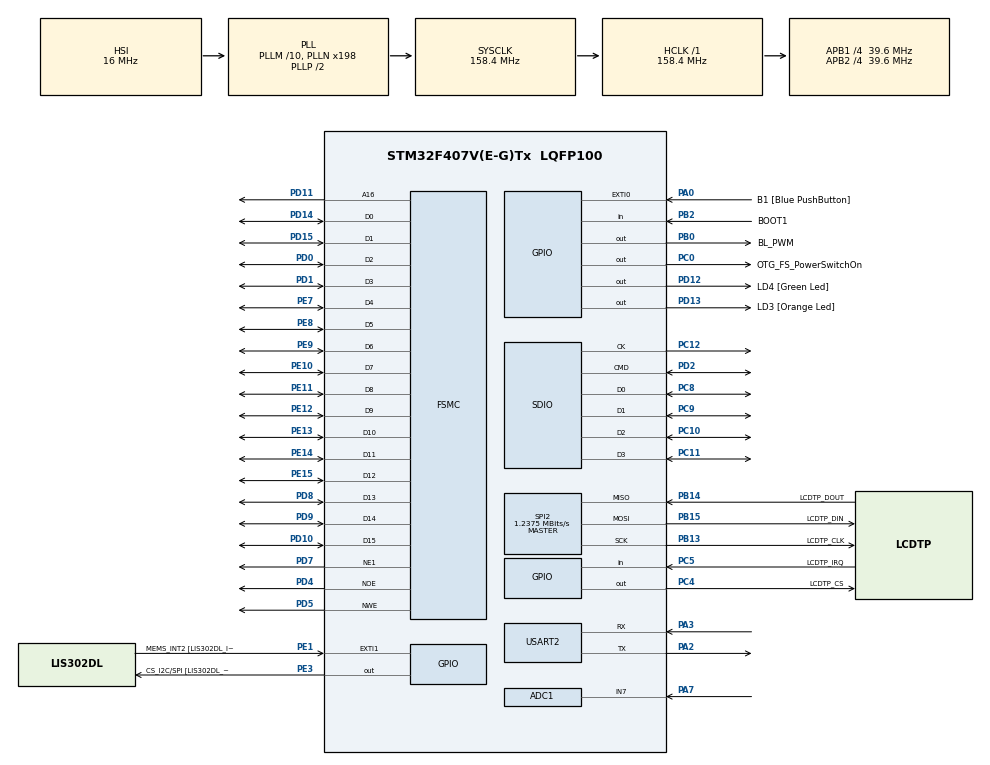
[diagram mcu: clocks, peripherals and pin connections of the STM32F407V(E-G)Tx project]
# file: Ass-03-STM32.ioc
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ADC1.Channel-0\#ChannelRegularConversion=ADC_CHANNEL_7
ADC1.ClockPrescaler=ADC_CLOCK_SYNC_PCLK_DIV8
ADC1.ContinuousConvMode=ENABLE
ADC1.DMAContinuousRequests=ENABLE
ADC1.DataAlign=ADC_DATAALIGN_RIGHT
ADC1.DiscontinuousConvMode=DISABLE
ADC1.EOCSelection=ADC_EOC_SEQ_CONV
ADC1.EnableAnalogWatchDog=false
ADC1.ExternalTrigConv=ADC_SOFTWARE_START
ADC1.ExternalTrigConvEdge=ADC_EXTERNALTRIGCONVEDGE_NONE
ADC1.InjNumberOfConversion=0
ADC1.NbrOfConversion=1
ADC1.NbrOfConversionFlag=1
ADC1.Rank-0\#ChannelRegularConversion=1
ADC1.Resolution=ADC_RESOLUTION_12B
ADC1.SamplingTime-0\#ChannelRegularConversion=ADC_SAMPLETIME_480CYCLES
ADC1.ScanConvMode=DISABLE
ADC1.master=1
Dma.ADC1.2.Direction=DMA_PERIPH_TO_MEMORY
Dma.ADC1.2.FIFOMode=DMA_FIFOMODE_DISABLE
Dma.ADC1.2.Instance=DMA2_Stream0
Dma.ADC1.2.MemDataAlignment=DMA_MDATAALIGN_HALFWORD
Dma.ADC1.2.MemInc=DMA_MINC_ENABLE
Dma.ADC1.2.Mode=DMA_CIRCULAR
Dma.ADC1.2.PeriphDataAlignment=DMA_PDATAALIGN_HALFWORD
Dma.ADC1.2.PeriphInc=DMA_PINC_DISABLE
Dma.ADC1.2.Priority=DMA_PRIORITY_LOW
Dma.Request0=SDIO_RX
Dma.Request1=SDIO_TX
Dma.Request2=ADC1
Dma.SDIO_RX.0.Direction=DMA_PERIPH_TO_MEMORY
Dma.SDIO_RX.0.FIFOMode=DMA_FIFOMODE_ENABLE
Dma.SDIO_RX.0.FIFOThreshold=DMA_FIFO_THRESHOLD_FULL
Dma.SDIO_RX.0.Instance=DMA2_Stream3
Dma.SDIO_RX.0.MemBurst=DMA_MBURST_INC4
Dma.SDIO_RX.0.MemDataAlignment=DMA_MDATAALIGN_WORD
Dma.SDIO_RX.0.MemInc=DMA_MINC_ENABLE
Dma.SDIO_RX.0.Mode=DMA_PFCTRL
Dma.SDIO_RX.0.PeriphBurst=DMA_PBURST_INC4
Dma.SDIO_RX.0.PeriphDataAlignment=DMA_PDATAALIGN_WORD
Dma.SDIO_RX.0.PeriphInc=DMA_PINC_DISABLE
Dma.SDIO_RX.0.Priority=DMA_PRIORITY_LOW
Dma.SDIO_TX.1.Direction=DMA_MEMORY_TO_PERIPH
Dma.SDIO_TX.1.FIFOMode=DMA_FIFOMODE_ENABLE
Dma.SDIO_TX.1.FIFOThreshold=DMA_FIFO_THRESHOLD_FULL
Dma.SDIO_TX.1.Instance=DMA2_Stream6
Dma.SDIO_TX.1.MemBurst=DMA_MBURST_INC4
Dma.SDIO_TX.1.MemDataAlignment=DMA_MDATAALIGN_WORD
Dma.SDIO_TX.1.MemInc=DMA_MINC_ENABLE
Dma.SDIO_TX.1.Mode=DMA_PFCTRL
Dma.SDIO_TX.1.PeriphBurst=DMA_PBURST_INC4
Dma.SDIO_TX.1.PeriphDataAlignment=DMA_PDATAALIGN_WORD
Dma.SDIO_TX.1.PeriphInc=DMA_PINC_DISABLE
Dma.SDIO_TX.1.Priority=DMA_PRIORITY_LOW
FATFS._FS_LOCK=5
FREERTOS.BinarySemaphores01=myBinarySem01,Dynamic,NULL;myBinarySem02,Dynamic,NULL;myBinarySem03,Dynamic,NULL;myBinarySem04,Dynamic,NULL;myBinarySem05,Dynamic,NULL;myBinarySem06,Dynamic,NULL
FREERTOS.CountingSemaphores01=myCountingSem01,2,Dynamic,NULL
FREERTOS.Mutexes01=myMutex01,Dynamic,NULL;myMutex02,Dynamic,NULL;myMutex03,Dynamic,NULL
FREERTOS.Queues01=myQueue01,4,uint32_t,0,Dynamic,NULL,NULL
FREERTOS.Tasks01=defaultTask,0,2048,StartDefaultTask,Default,NULL,Dynamic,NULL,NULL;myTask02,0,2048,StartTask02,Default,NULL,Dynamic,NULL,NULL;myTask03,2,2048,StartTask03,Default,NULL,Dynamic,NULL,NULL;myTask04,3,2048,StartTask04,Default,NULL,Dynamic,NULL,NULL
FREERTOS.Timers01=myTimer01,Callback01,osTimerPeriodic,Default,NULL,Dynamic,NULL
FREERTOS.configTOTAL_HEAP_SIZE=48000
FREERTOS.configUSE_COUNTING_SEMAPHORES=1
FREERTOS.configUSE_TIMERS=1
Mcu.Family=STM32F4
Mcu.Name=STM32F407V(E-G)Tx
Mcu.Package=LQFP100
NVIC.DMA2_Stream0_IRQn=true\:5\:0\:false\:false\:true\:true\:false
NVIC.DMA2_Stream3_IRQn=true\:5\:0\:false\:false\:true\:true\:false
NVIC.DMA2_Stream6_IRQn=true\:5\:0\:false\:false\:true\:true\:false
NVIC.PriorityGroup=NVIC_PRIORITYGROUP_4
NVIC.SPI2_IRQn=true\:8\:0\:true\:false\:true\:true\:true
NVIC.TIM1_UP_TIM10_IRQn=true\:0\:0\:false\:false\:true\:false\:false
NVIC.TimeBase=TIM1_UP_TIM10_IRQn
NVIC.TimeBaseIP=TIM1
NVIC.USART2_IRQn=true\:5\:0\:false\:false\:true\:true\:true
PA0-WKUP.GPIO_Label=B1 [Blue PushButton]
PA0-WKUP.GPIO_ModeDefaultEXTI=GPIO_MODE_EVT_RISING
PA0-WKUP.GPIO_PuPd=GPIO_NOPULL
PA0-WKUP.Signal=GPXTI0
PA10.GPIO_Label=OTG_FS_ID
PA10.GPIO_Mode=GPIO_MODE_AF_PP
PA10.GPIO_PuPd=GPIO_NOPULL
PA10.GPIO_Speed=GPIO_SPEED_FREQ_LOW
PA10.Signal=USB_OTG_FS_ID
PA11.GPIO_Label=OTG_FS_DM
PA11.GPIO_Mode=GPIO_MODE_AF_PP
PA11.GPIO_PuPd=GPIO_NOPULL
PA11.GPIO_Speed=GPIO_SPEED_FREQ_LOW
PA11.Signal=USB_OTG_FS_DM
PA12.GPIO_Label=OTG_FS_DP
PA12.GPIO_Mode=GPIO_MODE_AF_PP
PA12.GPIO_PuPd=GPIO_NOPULL
PA12.GPIO_Speed=GPIO_SPEED_FREQ_LOW
PA12.Signal=USB_OTG_FS_DP
PA13.GPIO_Label=SWDIO
PA13.Signal=SYS_JTMS-SWDIO
PA14.GPIO_Label=SWCLK
PA14.Signal=SYS_JTCK-SWCLK
PA2.Mode=Asynchronous
PA2.Signal=USART2_TX
PA3.Mode=Asynchronous
PA3.Signal=USART2_RX
PA4.GPIO_Label=I2S3_WS [CS43L22_LRCK]
PA4.GPIO_Mode=GPIO_MODE_AF_PP
PA4.GPIO_PuPd=GPIO_NOPULL
PA4.GPIO_Speed=GPIO_SPEED_FREQ_LOW
PA4.Signal=I2S3_WS
PA5.GPIO_Label=SPI1_SCK [LIS302DL_SCL/SPC]
PA5.GPIO_Mode=GPIO_MODE_AF_PP
PA5.GPIO_PuPd=GPIO_NOPULL
PA5.GPIO_Speed=GPIO_SPEED_FREQ_LOW
PA5.Signal=SPI1_SCK
PA7.Signal=ADCx_IN7
PA9.GPIO_Label=VBUS_FS
PA9.GPIO_Mode=GPIO_MODE_INPUT
PA9.GPIO_PuPd=GPIO_NOPULL
PA9.Signal=USB_OTG_FS_VBUS
PB0.GPIO_Label=BL_PWM
PB0.Signal=GPIO_Output
PB10.GPIO_Label=CLK_IN [MP45DT02_CLK]
PB10.GPIO_Mode=GPIO_MODE_AF_PP
PB10.GPIO_PuPd=GPIO_NOPULL
PB10.GPIO_Speed=GPIO_SPEED_FREQ_LOW
PB10.Signal=I2S2_CK
PB13.GPIO_Label=LCDTP_CLK
PB13.Mode=Full_Duplex_Master
PB13.Signal=SPI2_SCK
PB14.GPIO_Label=LCDTP_DOUT
PB14.Mode=Full_Duplex_Master
PB14.Signal=SPI2_MISO
PB15.GPIO_Label=LCDTP_DIN
PB15.Mode=Full_Duplex_Master
PB15.Signal=SPI2_MOSI
PB2.GPIO_Label=BOOT1
PB2.GPIO_Mode=GPIO_MODE_INPUT
PB2.GPIO_PuPd=GPIO_NOPULL
PB2.Signal=GPIO_Input
PB3.GPIO_Label=SWO
PB3.Signal=SYS_JTDO-SWO
PB6.GPIO_Label=Audio_SCL [CS43L22_SCL]
PB6.GPIO_Mode=GPIO_MODE_AF_OD
PB6.GPIO_PuPd=GPIO_NOPULL
PB6.GPIO_Speed=GPIO_SPEED_FREQ_LOW
PB6.Signal=I2C1_SCL
PB9.GPIO_Label=Audio_SDA [CS43L22_SDA]
PB9.GPIO_Mode=GPIO_MODE_AF_OD
PB9.GPIO_PuPd=GPIO_NOPULL
PB9.GPIO_Speed=GPIO_SPEED_FREQ_LOW
PB9.Signal=I2C1_SDA
PC0.GPIO_Label=OTG_FS_PowerSwitchOn
PC0.GPIO_PuPd=GPIO_NOPULL
PC0.GPIO_Speed=GPIO_SPEED_FREQ_LOW
PC0.PinState=GPIO_PIN_SET
PC0.Signal=GPIO_Output
PC10.Mode=SD_4_bits_Wide_bus
PC10.Signal=SDIO_D2
PC11.Mode=SD_4_bits_Wide_bus
PC11.Signal=SDIO_D3
PC12.Mode=SD_4_bits_Wide_bus
PC12.Signal=SDIO_CK
PC14-OSC32_IN.GPIO_Label=PC14-OSC32_IN
PC14-OSC32_IN.Signal=RCC_OSC32_IN
PC15-OSC32_OUT.GPIO_Label=PC15-OSC32_OUT
PC15-OSC32_OUT.Signal=RCC_OSC32_OUT
PC3.GPIO_Label=PDM_OUT [MP45DT02_DOUT]
PC3.GPIO_Mode=GPIO_MODE_AF_PP
PC3.GPIO_PuPd=GPIO_NOPULL
PC3.GPIO_Speed=GPIO_SPEED_FREQ_LOW
PC3.Signal=I2S2_SD
PC4.GPIO_Label=LCDTP_CS
PC4.GPIO_PuPd=GPIO_PULLDOWN
PC4.Signal=GPIO_Output
PC5.GPIO_Label=LCDTP_IRQ
PC5.Signal=GPIO_Input
PC7.GPIO_Label=I2S3_MCK [CS43L22_MCLK]
PC7.GPIO_Mode=GPIO_MODE_AF_PP
PC7.GPIO_PuPd=GPIO_NOPULL
PC7.GPIO_Speed=GPIO_SPEED_FREQ_LOW
PC7.Signal=I2S3_MCK
PC8.Mode=SD_4_bits_Wide_bus
PC8.Signal=SDIO_D0
PC9.Mode=SD_4_bits_Wide_bus
PC9.Signal=SDIO_D1
PD0.Mode=16b-d1
PD0.Signal=FSMC_D2
PD1.Mode=16b-d1
PD1.Signal=FSMC_D3
PD10.Mode=16b-d1
PD10.Signal=FSMC_D15
PD11.Mode=A16_1
PD11.Signal=FSMC_A16
PD12.GPIO_Label=LD4 [Green Led]
PD12.GPIO_PuPd=GPIO_NOPULL
PD12.GPIO_Speed=GPIO_SPEED_FREQ_LOW
PD12.Signal=GPIO_Output
PD13.GPIO_Label=LD3 [Orange Led]
PD13.GPIO_PuPd=GPIO_NOPULL
PD13.GPIO_Speed=GPIO_SPEED_FREQ_LOW
PD13.Signal=GPIO_Output
PD14.Mode=16b-d1
PD14.Signal=FSMC_D0
PD15.Mode=16b-d1
PD15.Signal=FSMC_D1
PD2.Mode=SD_4_bits_Wide_bus
PD2.Signal=SDIO_CMD
PD4.Mode=Lcd1
PD4.Signal=FSMC_NOE
PD5.Mode=Lcd1
PD5.Signal=FSMC_NWE
PD7.Mode=NorPsramChipSelect1_1
PD7.Signal=FSMC_NE1
PD8.Mode=16b-d1
PD8.Signal=FSMC_D13
PD9.Mode=16b-d1
PD9.Signal=FSMC_D14
PE1.GPIO_Label=MEMS_INT2 [LIS302DL_INT2]
PE1.GPIO_ModeDefaultEXTI=GPIO_MODE_EVT_RISING
PE1.GPIO_PuPd=GPIO_NOPULL
PE1.Signal=GPXTI1
PE10.Mode=16b-d1
PE10.Signal=FSMC_D7
PE11.Mode=16b-d1
PE11.Signal=FSMC_D8
PE12.Mode=16b-d1
PE12.Signal=FSMC_D9
PE13.Mode=16b-d1
PE13.Signal=FSMC_D10
PE14.Mode=16b-d1
PE14.Signal=FSMC_D11
PE15.Mode=16b-d1
PE15.Signal=FSMC_D12
PE3.GPIO_Label=CS_I2C/SPI [LIS302DL_CS_I2C/SPI]
PE3.GPIO_PuPd=GPIO_NOPULL
PE3.GPIO_Speed=GPIO_SPEED_FREQ_LOW
PE3.Signal=GPIO_Output
PE7.Mode=16b-d1
PE7.Signal=FSMC_D4
PE8.Mode=16b-d1
PE8.Signal=FSMC_D5
PE9.Mode=16b-d1
PE9.Signal=FSMC_D6
PH0-OSC_IN.GPIO_Label=PH0-OSC_IN
PH0-OSC_IN.Mode=HSE-External-Oscillator
PH0-OSC_IN.Signal=RCC_OSC_IN
PH1-OSC_OUT.GPIO_Label=PH1-OSC_OUT
PH1-OSC_OUT.Mode=HSE-External-Oscillator
PH1-OSC_OUT.Signal=RCC_OSC_OUT
ProjectManager.HeapSize=0x8000
ProjectManager.StackSize=0x4000
ProjectManager.TargetToolchain=SW4STM32
RCC.48MHZClocksFreq_Value=45257142.85714286
RCC.AHBFreq_Value=158400000
RCC.APB1CLKDivider=RCC_HCLK_DIV4
RCC.APB1Freq_Value=39600000
RCC.APB1TimFreq_Value=79200000
RCC.APB2CLKDivider=RCC_HCLK_DIV4
RCC.APB2Freq_Value=39600000
RCC.APB2TimFreq_Value=79200000
RCC.CortexFreq_Value=158400000
RCC.HCLKFreq_Value=158400000
RCC.HSE_VALUE=8000000
RCC.HSI_VALUE=16000000
RCC.LSE_VALUE=32768
RCC.PLLM=10
RCC.PLLN=198
RCC.PLLQ=7
RCC.SYSCLKFreq_VALUE=158400000
RCC.SYSCLKSource=RCC_SYSCLKSOURCE_PLLCLK
RCC.VCOOutputFreq_Value=316800000
SH.ADCx_IN7.0=ADC1_IN7,IN7
SPI2.BaudRatePrescaler=SPI_BAUDRATEPRESCALER_32
SPI2.CalculateBaudRate=1.2375 MBits/s
SPI2.Direction=SPI_DIRECTION_2LINES
SPI2.Mode=SPI_MODE_MASTER
SPI2.VirtualType=VM_MASTER
USART2.VirtualMode=VM_ASYNC
VP_FATFS_VS_SDIO.Mode=SDIO
VP_FREERTOS_VS_ENABLE.Mode=Enabled
VP_SYS_VS_tim1.Mode=TIM1
board=STM32F4DISCOVERY

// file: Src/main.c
/**
  ******************************************************************************
  * @file           : main.c
  * @brief          : Main program body
  ******************************************************************************
  * This notice applies to any and all portions of this file
  * that are not between comment pairs USER CODE BEGIN and
  * USER CODE END. Other portions of this file, whether
  * inserted by the user or by software development tools
  * are owned by their respective copyright owners.
  *
  * Copyright (c) 2018 STMicroelectronics International N.V.
  * All rights reserved.
  *
  * Redistribution and use in source and binary forms, with or without
  * modification, are permitted, provided that the following conditions are met:
  *
  * 1. Redistribution of source code must retain the above copyright notice,
  *    this list of conditions and the following disclaimer.
  * 2. Redistributions in binary form must reproduce the above copyright notice,
  *    this list of conditions and the following disclaimer in the documentation
  *    and/or other materials provided with the distribution.
  * 3. Neither the name of STMicroelectronics nor the names of other
  *    contributors to this software may be used to endorse or promote products
  *    derived from this software without specific written permission.
  * 4. This software, including modifications and/or derivative works of this
  *    software, must execute solely and exclusively on microcontroller or
  *    microprocessor devices manufactured by or for STMicroelectronics.
  * 5. Redistribution and use of this software other than as permitted under
  *    this license is void and will automatically terminate your rights under
  *    this license.
  *
  * THIS SOFTWARE IS PROVIDED BY STMICROELECTRONICS AND CONTRIBUTORS "AS IS"
  * AND ANY EXPRESS, IMPLIED OR STATUTORY WARRANTIES, INCLUDING, BUT NOT
  * LIMITED TO, THE IMPLIED WARRANTIES OF MERCHANTABILITY, FITNESS FOR A
  * PARTICULAR PURPOSE AND NON-INFRINGEMENT OF THIRD PARTY INTELLECTUAL PROPERTY
  * RIGHTS ARE DISCLAIMED TO THE FULLEST EXTENT PERMITTED BY LAW. IN NO EVENT
  * SHALL STMICROELECTRONICS OR CONTRIBUTORS BE LIABLE FOR ANY DIRECT, INDIRECT,
  * INCIDENTAL, SPECIAL, EXEMPLARY, OR CONSEQUENTIAL DAMAGES (INCLUDING, BUT NOT
  * LIMITED TO, PROCUREMENT OF SUBSTITUTE GOODS OR SERVICES; LOSS OF USE, DATA,
  * OR PROFITS; OR BUSINESS INTERRUPTION) HOWEVER CAUSED AND ON ANY THEORY OF
  * LIABILITY, WHETHER IN CONTRACT, STRICT LIABILITY, OR TORT (INCLUDING
  * NEGLIGENCE OR OTHERWISE) ARISING IN ANY WAY OUT OF THE USE OF THIS SOFTWARE,
  * EVEN IF ADVISED OF THE POSSIBILITY OF SUCH DAMAGE.
  *
  ******************************************************************************
  */
#include "main.h"
#include "stm32f4xx_hal.h"
#include "cmsis_os.h"
#include "adc.h"
#include "dma.h"
#include "fatfs.h"
#include "sdio.h"
#include "spi.h"
#include "usart.h"
#include "gpio.h"
#include "fsmc.h"

/* USER CODE BEGIN PV */
/* Private variables ---------------------------------------------------------*/

/* USER CODE END PV */

void SystemClock_Config(void);
void MX_FREERTOS_Init(void);

/* USER CODE BEGIN PFP */
/* Private function prototypes -----------------------------------------------*/

/* USER CODE END PFP */

int main(void)
{

  /* MCU Configuration----------------------------------------------------------*/

  /* Reset of all peripherals, Initializes the Flash interface and the Systick. */
  HAL_Init();

  /* Configure the system clock */
  SystemClock_Config();

  /* Initialize all configured peripherals */
  MX_GPIO_Init();
  MX_DMA_Init();
  MX_FSMC_Init();
  MX_SDIO_SD_Init();
  MX_USART2_UART_Init();
  MX_SPI2_Init();
  MX_ADC1_Init();

  /* Call init function for freertos objects (in freertos.c) */
  MX_FREERTOS_Init();

  /* Start scheduler */
  osKernelStart();

  /* We should never get here as control is now taken by the scheduler */

  /* Infinite loop */
  while (1)
  {

  }

}

void SystemClock_Config(void)
{

  RCC_OscInitTypeDef RCC_OscInitStruct;
  RCC_ClkInitTypeDef RCC_ClkInitStruct;

    /**Configure the main internal regulator output voltage
    */
  __HAL_RCC_PWR_CLK_ENABLE();

  __HAL_PWR_VOLTAGESCALING_CONFIG(PWR_REGULATOR_VOLTAGE_SCALE1);

    /**Initializes the CPU, AHB and APB busses clocks
    */
  RCC_OscInitStruct.OscillatorType = RCC_OSCILLATORTYPE_HSI;
  RCC_OscInitStruct.HSIState = RCC_HSI_ON;
  RCC_OscInitStruct.HSICalibrationValue = 16;
  RCC_OscInitStruct.PLL.PLLState = RCC_PLL_ON;
  RCC_OscInitStruct.PLL.PLLSource = RCC_PLLSOURCE_HSI;
  RCC_OscInitStruct.PLL.PLLM = 10;
  RCC_OscInitStruct.PLL.PLLN = 198;
  RCC_OscInitStruct.PLL.PLLP = RCC_PLLP_DIV2;
  RCC_OscInitStruct.PLL.PLLQ = 7;
  if (HAL_RCC_OscConfig(&RCC_OscInitStruct) != HAL_OK)
  {
    _Error_Handler(__FILE__, __LINE__);
  }

    /**Initializes the CPU, AHB and APB busses clocks
    */
  RCC_ClkInitStruct.ClockType = RCC_CLOCKTYPE_HCLK|RCC_CLOCKTYPE_SYSCLK
                              |RCC_CLOCKTYPE_PCLK1|RCC_CLOCKTYPE_PCLK2;
  RCC_ClkInitStruct.SYSCLKSource = RCC_SYSCLKSOURCE_PLLCLK;
  RCC_ClkInitStruct.AHBCLKDivider = RCC_SYSCLK_DIV1;
  RCC_ClkInitStruct.APB1CLKDivider = RCC_HCLK_DIV4;
  RCC_ClkInitStruct.APB2CLKDivider = RCC_HCLK_DIV4;

  if (HAL_RCC_ClockConfig(&RCC_ClkInitStruct, FLASH_LATENCY_5) != HAL_OK)
  {
    _Error_Handler(__FILE__, __LINE__);
  }

    /**Configure the Systick interrupt time
    */
  HAL_SYSTICK_Config(HAL_RCC_GetHCLKFreq()/1000);

    /**Configure the Systick
    */
  HAL_SYSTICK_CLKSourceConfig(SYSTICK_CLKSOURCE_HCLK);

  /* SysTick_IRQn interrupt configuration */
  HAL_NVIC_SetPriority(SysTick_IRQn, 15, 0);
}

void HAL_TIM_PeriodElapsedCallback(TIM_HandleTypeDef *htim)
{
  /* USER CODE BEGIN Callback 0 */
static uint16_t count=0;
  /* USER CODE END Callback 0 */
  if (htim->Instance == TIM1) {
    HAL_IncTick();
  }
  /* USER CODE BEGIN Callback 1 */
  // STEPIEN
  if (htim->Instance == TIM2)
  {
		HAL_GPIO_WritePin(GPIOD, LD3_Pin, GPIO_PIN_SET);
		count++;
		HAL_GPIO_WritePin(GPIOD, LD3_Pin, GPIO_PIN_RESET);
  }

  /* USER CODE END Callback 1 */
}

void _Error_Handler(char *file, int line)
{
  while(1)
  {
  }
}

/************************ (C) COPYRIGHT STMicroelectronics *****END OF FILE****/

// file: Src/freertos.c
/**
  ******************************************************************************
  * File Name          : freertos.c
  * Description        : Code for freertos applications
  ******************************************************************************
  * This notice applies to any and all portions of this file
  * that are not between comment pairs USER CODE BEGIN and
  * USER CODE END. Other portions of this file, whether
  * inserted by the user or by software development tools
  * are owned by their respective copyright owners.
  *
  * Copyright (c) 2018 STMicroelectronics International N.V.
  * All rights reserved.
  *
  * Redistribution and use in source and binary forms, with or without
  * modification, are permitted, provided that the following conditions are met:
  *
  * 1. Redistribution of source code must retain the above copyright notice,
  *    this list of conditions and the following disclaimer.
  * 2. Redistributions in binary form must reproduce the above copyright notice,
  *    this list of conditions and the following disclaimer in the documentation
  *    and/or other materials provided with the distribution.
  * 3. Neither the name of STMicroelectronics nor the names of other
  *    contributors to this software may be used to endorse or promote products
  *    derived from this software without specific written permission.
  * 4. This software, including modifications and/or derivative works of this
  *    software, must execute solely and exclusively on microcontroller or
  *    microprocessor devices manufactured by or for STMicroelectronics.
  * 5. Redistribution and use of this software other than as permitted under
  *    this license is void and will automatically terminate your rights under
  *    this license.
  *
  * THIS SOFTWARE IS PROVIDED BY STMICROELECTRONICS AND CONTRIBUTORS "AS IS"
  * AND ANY EXPRESS, IMPLIED OR STATUTORY WARRANTIES, INCLUDING, BUT NOT
  * LIMITED TO, THE IMPLIED WARRANTIES OF MERCHANTABILITY, FITNESS FOR A
  * PARTICULAR PURPOSE AND NON-INFRINGEMENT OF THIRD PARTY INTELLECTUAL PROPERTY
  * RIGHTS ARE DISCLAIMED TO THE FULLEST EXTENT PERMITTED BY LAW. IN NO EVENT
  * SHALL STMICROELECTRONICS OR CONTRIBUTORS BE LIABLE FOR ANY DIRECT, INDIRECT,
  * INCIDENTAL, SPECIAL, EXEMPLARY, OR CONSEQUENTIAL DAMAGES (INCLUDING, BUT NOT
  * LIMITED TO, PROCUREMENT OF SUBSTITUTE GOODS OR SERVICES; LOSS OF USE, DATA,
  * OR PROFITS; OR BUSINESS INTERRUPTION) HOWEVER CAUSED AND ON ANY THEORY OF
  * LIABILITY, WHETHER IN CONTRACT, STRICT LIABILITY, OR TORT (INCLUDING
  * NEGLIGENCE OR OTHERWISE) ARISING IN ANY WAY OUT OF THE USE OF THIS SOFTWARE,
  * EVEN IF ADVISED OF THE POSSIBILITY OF SUCH DAMAGE.
  *
  ******************************************************************************
  */

#include "FreeRTOS.h"
#include "task.h"
#include "cmsis_os.h"

/* USER CODE BEGIN Includes */

// STEPIEN
#include "Ass-03.h"

/* USER CODE END Includes */

osThreadId defaultTaskHandle;
osThreadId myTask02Handle;
osThreadId myTask03Handle;
osThreadId myTask04Handle;
osMessageQId myQueue01Handle;
osMessageQId myQueue02Handle;
osTimerId myTimer01Handle;
osMutexId myMutex01Handle;
osMutexId myMutex02Handle;
osMutexId myMutex03Handle;
osSemaphoreId myBinarySem01Handle;
osSemaphoreId myBinarySem02Handle;
osSemaphoreId myBinarySem03Handle;
osSemaphoreId myBinarySem04Handle;
osSemaphoreId myBinarySem05Handle;
osSemaphoreId myBinarySem06Handle;
osSemaphoreId myCountingSem01Handle;

/* USER CODE BEGIN Variables */
osMutexId windowbuf_Handle;
/* USER CODE END Variables */

void StartDefaultTask(void const * argument);
void StartTask02(void const * argument);
void StartTask03(void const * argument);
void StartTask04(void const * argument);
void Callback01(void const * argument);

extern void MX_FATFS_Init(void);
void MX_FREERTOS_Init(void); /* (MISRA C 2004 rule 8.1) */

/* Hook prototypes */

/* Init FreeRTOS */

void MX_FREERTOS_Init(void) {

  /* Create the mutex(es) */
  /* definition and creation of myMutex01 */
  osMutexDef(myMutex01);
  myMutex01Handle = osMutexCreate(osMutex(myMutex01));

  /* definition and creation of myMutex02 */
  osMutexDef(myMutex02);
  myMutex02Handle = osMutexCreate(osMutex(myMutex02));

  /* definition and creation of myMutex03 */
  osMutexDef(myMutex03);
  myMutex03Handle = osMutexCreate(osMutex(myMutex03));

  /* USER CODE BEGIN RTOS_MUTEX */
  /* add mutexes, ... */

  /* definition and creation of myMutex03 */
  osMutexDef(myMutex04);
  windowbuf_Handle = osMutexCreate(osMutex(myMutex04));
  /* USER CODE END RTOS_MUTEX */

  /* Create the semaphores(s) */
  /* definition and creation of myBinarySem01 */
  osSemaphoreDef(myBinarySem01);
  myBinarySem01Handle = osSemaphoreCreate(osSemaphore(myBinarySem01), 1);

  /* definition and creation of myBinarySem02 */
  osSemaphoreDef(myBinarySem02);
  myBinarySem02Handle = osSemaphoreCreate(osSemaphore(myBinarySem02), 1);

  /* definition and creation of myBinarySem03 */
  osSemaphoreDef(myBinarySem03);
  myBinarySem03Handle = osSemaphoreCreate(osSemaphore(myBinarySem03), 1);

  /* definition and creation of myBinarySem04 */
  osSemaphoreDef(myBinarySem04);
  myBinarySem04Handle = osSemaphoreCreate(osSemaphore(myBinarySem04), 1);

  /* definition and creation of myBinarySem05 */
  osSemaphoreDef(myBinarySem05);
  myBinarySem05Handle = osSemaphoreCreate(osSemaphore(myBinarySem05), 1);

  /* definition and creation of myBinarySem06 */
  osSemaphoreDef(myBinarySem06);
  myBinarySem06Handle = osSemaphoreCreate(osSemaphore(myBinarySem06), 1);

  /* definition and creation of myCountingSem01 */
  osSemaphoreDef(myCountingSem01);
  myCountingSem01Handle = osSemaphoreCreate(osSemaphore(myCountingSem01), 2);

  /* USER CODE BEGIN RTOS_SEMAPHORES */
  /* add semaphores, ... */
  osSemaphoreWait(myBinarySem01Handle, osWaitForever); // STEPIEN: Start with nothing
  osSemaphoreWait(myBinarySem04Handle, osWaitForever); // STEPIEN: Start with nothing
  osSemaphoreWait(myBinarySem05Handle, osWaitForever); // STEPIEN: Start with nothing
  osSemaphoreWait(myBinarySem06Handle, osWaitForever); // STEPIEN: Start with nothing
  /* USER CODE END RTOS_SEMAPHORES */

  /* Create the timer(s) */
  /* definition and creation of myTimer01 */
  osTimerDef(myTimer01, Callback01);
  myTimer01Handle = osTimerCreate(osTimer(myTimer01), osTimerPeriodic, NULL);

  /* USER CODE BEGIN RTOS_TIMERS */
  /* start timers, add new ones, ... */
  // STEPIEN Start timer for touch panel
  osTimerStart(myTimer01Handle, 10);
  /* USER CODE END RTOS_TIMERS */

  /* Create the thread(s) */
  /* definition and creation of defaultTask */
  osThreadDef(defaultTask, StartDefaultTask, osPriorityNormal, 0, 2048);
  defaultTaskHandle = osThreadCreate(osThread(defaultTask), NULL);

  /* definition and creation of myTask02 */
  osThreadDef(myTask02, StartTask02, osPriorityNormal, 0, 2048);
  myTask02Handle = osThreadCreate(osThread(myTask02), NULL);

  /* definition and creation of myTask03 */
  osThreadDef(myTask03, StartTask03, osPriorityHigh, 0, 2048);
  myTask03Handle = osThreadCreate(osThread(myTask03), NULL);

  /* definition and creation of myTask04 */
  osThreadDef(myTask04, StartTask04, osPriorityRealtime, 0, 2048);
  myTask04Handle = osThreadCreate(osThread(myTask04), NULL);

  /* Create the queue(s) */
  /* definition and creation of myQueue01 */
  osMessageQDef(myQueue01, 4, uint32_t);
  myQueue01Handle = osMessageCreate(osMessageQ(myQueue01), NULL);

  /* USER CODE BEGIN RTOS_QUEUES */
  /* add queues, ... */
  /* Create the queue(s) */
  /* definition and creation of myQueue01 */
  osMessageQDef(myQueue02, 4, uint32_t);
  myQueue02Handle = osMessageCreate(osMessageQ(myQueue02), NULL);
  /* USER CODE END RTOS_QUEUES */
}

/* StartDefaultTask function */
void StartDefaultTask(void const * argument)
{
  /* init code for FATFS */
  MX_FATFS_Init();

  /* USER CODE BEGIN StartDefaultTask */
  // STEPIEN
  Ass_03_Task_01(argument);
  /* USER CODE END StartDefaultTask */
}

/* StartTask02 function */
void StartTask02(void const * argument)
{
  /* USER CODE BEGIN StartTask02 */
  // STEPIEN
  osDelay(100);
  Ass_03_Task_02(argument);
  /* USER CODE END StartTask02 */
}

/* StartTask03 function */
void StartTask03(void const * argument)
{
  /* USER CODE BEGIN StartTask03 */
  // STEPIEN
  osDelay(200);
  Ass_03_Task_03(argument);
  /* USER CODE END StartTask03 */
}

/* StartTask04 function */
void StartTask04(void const * argument)
{
  /* USER CODE BEGIN StartTask04 */
  osDelay(300);
  Ass_03_Task_04(argument);
  /* USER CODE END StartTask04 */
}

/* Callback01 function */
void Callback01(void const * argument)
{
  /* USER CODE BEGIN Callback01 */

  // STEPIEN: Period timer to signal reading the touch panel display
  osSemaphoreRelease(myBinarySem04Handle);

  /* USER CODE END Callback01 */
}

/************************ (C) COPYRIGHT STMicroelectronics *****END OF FILE****/
